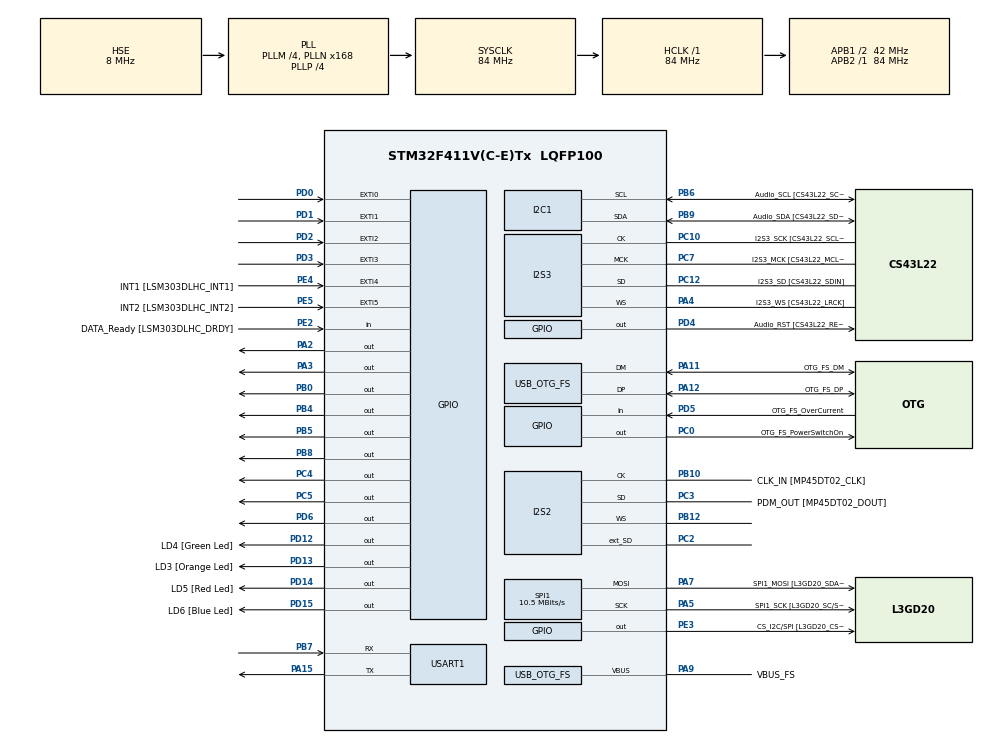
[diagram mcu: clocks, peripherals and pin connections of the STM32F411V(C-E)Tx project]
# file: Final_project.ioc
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I2S2.AudioFreq=I2S_AUDIOFREQ_96K
I2S2.ErrorAudioFreq=0.15 %
I2S2.FullDuplexMode=I2S_FULLDUPLEXMODE_ENABLE
I2S2.Instance=SPI$Index
I2S2.RealAudioFreq=96.153 KHz
I2S2.VirtualMode=I2S_MODE_MASTER
I2S3.AudioFreq=I2S_AUDIOFREQ_96K
I2S3.ErrorAudioFreq=-6.99 %
I2S3.FullDuplexMode=I2S_FULLDUPLEXMODE_DISABLE
I2S3.Instance=SPI$Index
I2S3.RealAudioFreq=89.285 KHz
I2S3.VirtualMode=I2S_MODE_MASTER
Mcu.Family=STM32F4
Mcu.Name=STM32F411V(C-E)Tx
Mcu.Package=LQFP100
NVIC.EXTI0_IRQn=true\:0\:0\:false\:false\:true\:true\:true\:true
NVIC.EXTI1_IRQn=true\:0\:0\:false\:false\:true\:true\:true\:true
NVIC.EXTI2_IRQn=true\:0\:0\:false\:false\:true\:true\:true\:true
NVIC.EXTI3_IRQn=true\:0\:0\:false\:false\:true\:true\:true\:true
NVIC.OTG_FS_IRQn=true\:0\:0\:false\:false\:true\:true\:true\:true
NVIC.PriorityGroup=NVIC_PRIORITYGROUP_0
NVIC.USART1_IRQn=true\:0\:0\:false\:false\:true\:true\:true\:true
PA1.Signal=SPI4_MOSI
PA10.GPIO_Label=OTG_FS_ID
PA10.Signal=USB_OTG_FS_ID
PA11.GPIO_Label=OTG_FS_DM
PA11.Mode=Device_Only
PA11.Signal=USB_OTG_FS_DM
PA12.GPIO_Label=OTG_FS_DP
PA12.Mode=Device_Only
PA12.Signal=USB_OTG_FS_DP
PA13.GPIO_Label=SWDIO
PA13.Signal=SYS_JTMS-SWDIO
PA14.GPIO_Label=SWCLK
PA14.Signal=SYS_JTCK-SWCLK
PA15.Mode=Asynchronous
PA15.Signal=USART1_TX
PA2.Signal=GPIO_Output
PA3.Signal=GPIO_Output
PA4.GPIO_Label=I2S3_WS [CS43L22_LRCK]
PA4.GPIO_Mode=GPIO_MODE_AF_PP
PA4.GPIO_PuPd=GPIO_NOPULL
PA4.GPIO_Speed=GPIO_SPEED_FREQ_LOW
PA4.Mode=Half_Duplex_Master
PA4.Signal=I2S3_WS
PA5.GPIO_Label=SPI1_SCK [L3GD20_SC/SPC]
PA5.Mode=TX_Only_Simplex_Unidirect_Master
PA5.Signal=SPI1_SCK
PA6.GPIO_Label=SPI1_MISO [L3GD20_AS0/SDO]
PA6.Signal=SPI1_MISO
PA7.GPIO_Label=SPI1_MOSI [L3GD20_SDA/SDI/SDO]
PA7.Mode=TX_Only_Simplex_Unidirect_Master
PA7.Signal=SPI1_MOSI
PA9.GPIO_Label=VBUS_FS
PA9.Mode=Activate_VBUS
PA9.Signal=USB_OTG_FS_VBUS
PB0.Signal=GPIO_Output
PB10.GPIO_Label=CLK_IN [MP45DT02_CLK]
PB10.Mode=Full_Duplex_Master
PB10.Signal=I2S2_CK
PB12.Mode=Full_Duplex_Master
PB12.Signal=I2S2_WS
PB3.GPIO_Label=SWO
PB3.Signal=SYS_JTDO-SWO
PB4.Signal=GPIO_Output
PB5.Signal=GPIO_Output
PB6.GPIO_Label=Audio_SCL [CS43L22_SCL]
PB6.GPIO_Mode=GPIO_MODE_AF_OD
PB6.GPIO_Pu=GPIO_PULLUP
PB6.GPIO_PuPd=GPIO_NOPULL
PB6.GPIO_Speed=GPIO_SPEED_FREQ_LOW
PB6.Mode=I2C
PB6.Signal=I2C1_SCL
PB7.Mode=Asynchronous
PB7.Signal=USART1_RX
PB8.Signal=GPIO_Output
PB9.GPIO_Label=Audio_SDA [CS43L22_SDA]
PB9.GPIO_Mode=GPIO_MODE_AF_OD
PB9.GPIO_Pu=GPIO_PULLUP
PB9.GPIO_PuPd=GPIO_NOPULL
PB9.GPIO_Speed=GPIO_SPEED_FREQ_LOW
PB9.Mode=I2C
PB9.Signal=I2C1_SDA
PC0.GPIO_Label=OTG_FS_PowerSwitchOn
PC0.PinState=GPIO_PIN_SET
PC0.Signal=GPIO_Output
PC10.GPIO_Label=I2S3_SCK [CS43L22_SCLK]
PC10.GPIO_Mode=GPIO_MODE_AF_PP
PC10.GPIO_PuPd=GPIO_NOPULL
PC10.GPIO_Speed=GPIO_SPEED_FREQ_LOW
PC10.Mode=Half_Duplex_Master
PC10.Signal=I2S3_CK
PC12.GPIO_Label=I2S3_SD [CS43L22_SDIN]
PC12.GPIO_Mode=GPIO_MODE_AF_PP
PC12.GPIO_PuPd=GPIO_NOPULL
PC12.GPIO_Speed=GPIO_SPEED_FREQ_LOW
PC12.Mode=Half_Duplex_Master
PC12.Signal=I2S3_SD
PC14-OSC32_IN.GPIO_Label=PC14-OSC32_IN
PC14-OSC32_IN.Mode=LSE-External-Oscillator
PC14-OSC32_IN.Signal=RCC_OSC32_IN
PC15-OSC32_OUT.GPIO_Label=PC15-OSC32_OUT
PC15-OSC32_OUT.Mode=LSE-External-Oscillator
PC15-OSC32_OUT.Signal=RCC_OSC32_OUT
PC2.Mode=Full_Duplex_Master
PC2.Signal=I2S2_ext_SD
PC3.GPIO_Label=PDM_OUT [MP45DT02_DOUT]
PC3.Mode=Full_Duplex_Master
PC3.Signal=I2S2_SD
PC4.Signal=GPIO_Output
PC5.Signal=GPIO_Output
PC7.GPIO_Label=I2S3_MCK [CS43L22_MCLK]
PC7.GPIO_Mode=GPIO_MODE_AF_PP
PC7.GPIO_PuPd=GPIO_NOPULL
PC7.GPIO_Speed=GPIO_SPEED_FREQ_LOW
PC7.Mode=Master_Clock_Activated
PC7.Signal=I2S3_MCK
PD0.GPIO_PuPd=GPIO_PULLUP
PD0.Signal=GPXTI0
PD1.GPIO_PuPd=GPIO_PULLUP
PD1.Signal=GPXTI1
PD12.GPIO_Label=LD4 [Green Led]
PD12.GPIO_PuPd=GPIO_NOPULL
PD12.GPIO_Speed=GPIO_SPEED_FREQ_LOW
PD12.Signal=GPIO_Output
PD13.GPIO_Label=LD3 [Orange Led]
PD13.GPIO_PuPd=GPIO_NOPULL
PD13.GPIO_Speed=GPIO_SPEED_FREQ_LOW
PD13.Signal=GPIO_Output
PD14.GPIO_Label=LD5 [Red Led]
PD14.GPIO_PuPd=GPIO_NOPULL
PD14.GPIO_Speed=GPIO_SPEED_FREQ_LOW
PD14.Signal=GPIO_Output
PD15.GPIO_Label=LD6 [Blue Led]
PD15.GPIO_PuPd=GPIO_NOPULL
PD15.GPIO_Speed=GPIO_SPEED_FREQ_LOW
PD15.Signal=GPIO_Output
PD2.GPIO_PuPd=GPIO_PULLUP
PD2.Signal=GPXTI2
PD3.GPIO_PuPd=GPIO_PULLUP
PD3.Signal=GPXTI3
PD4.GPIO_Label=Audio_RST [CS43L22_RESET]
PD4.Signal=GPIO_Output
PD5.GPIO_Label=OTG_FS_OverCurrent
PD5.Signal=GPIO_Input
PD6.Signal=GPIO_Output
PE2.GPIO_Label=DATA_Ready [LSM303DLHC_DRDY]
PE2.Signal=GPIO_Input
PE3.GPIO_Label=CS_I2C/SPI [L3GD20_CS_I2C/SPI]
PE3.Signal=GPIO_Output
PE4.GPIO_Label=INT1 [LSM303DLHC_INT1]
PE4.GPIO_ModeDefaultEXTI=GPIO_MODE_EVT_RISING
PE4.Signal=GPXTI4
PE5.GPIO_Label=INT2 [LSM303DLHC_INT2]
PE5.GPIO_ModeDefaultEXTI=GPIO_MODE_EVT_RISING
PE5.Signal=GPXTI5
PH0\ -\ OSC_IN.GPIO_Label=PH0-OSC_IN
PH0\ -\ OSC_IN.Mode=HSE-External-Oscillator
PH0\ -\ OSC_IN.Signal=RCC_OSC_IN
PH1\ -\ OSC_OUT.GPIO_Label=PH1-OSC_OUT
PH1\ -\ OSC_OUT.Mode=HSE-External-Oscillator
PH1\ -\ OSC_OUT.Signal=RCC_OSC_OUT
ProjectManager.HeapSize=0x200
ProjectManager.StackSize=0x400
ProjectManager.TargetToolchain=STM32CubeIDE
RCC.48MHZClocksFreq_Value=48000000
RCC.AHBFreq_Value=84000000
RCC.APB1CLKDivider=RCC_HCLK_DIV2
RCC.APB1Freq_Value=42000000
RCC.APB1TimFreq_Value=84000000
RCC.APB2Freq_Value=84000000
RCC.APB2TimFreq_Value=84000000
RCC.CortexFreq_Value=84000000
RCC.HCLKFreq_Value=84000000
RCC.HSE_VALUE=8000000
RCC.HSI_VALUE=16000000
RCC.PLLI2SM=5
RCC.PLLI2SN=200
RCC.PLLM=4
RCC.PLLN=168
RCC.PLLP=RCC_PLLP_DIV4
RCC.PLLQ=7
RCC.SYSCLKFreq_VALUE=84000000
RCC.SYSCLKSource=RCC_SYSCLKSOURCE_PLLCLK
RCC.VCOOutputFreq_Value=336000000
SPI1.BaudRatePrescaler=SPI_BAUDRATEPRESCALER_8
SPI1.CalculateBaudRate=10.5 MBits/s
SPI1.Direction=SPI_DIRECTION_2LINES
SPI1.Mode=SPI_MODE_MASTER
SPI1.VirtualType=VM_MASTER
USART1.VirtualMode=VM_ASYNC
USB_DEVICE.CLASS_NAME_FS=HID
USB_DEVICE.VirtualMode=Hid
USB_DEVICE.VirtualModeFS=Hid_FS
USB_OTG_FS.VirtualMode=Device_Only
VP_USB_DEVICE_VS_USB_DEVICE_HID_FS.Mode=HID_FS
board=STM32F411E-DISCO

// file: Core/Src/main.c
/* USER CODE BEGIN Header */
/**
  ******************************************************************************
  * @file           : main.c
  * @brief          : Main program body
  ******************************************************************************
  * @attention
  *
  * Copyright (c) 2023 STMicroelectronics.
  * All rights reserved.
  *
  * This software is licensed under terms that can be found in the LICENSE file
  * in the root directory of this software component.
  * If no LICENSE file comes with this software, it is provided AS-IS.
  *
  ******************************************************************************
  */
/* USER CODE END Header */
#include "main.h"
#include "i2c.h"
#include "i2s.h"
#include "spi.h"
#include "usart.h"
#include "usb_device.h"
#include "gpio.h"

/* USER CODE BEGIN Includes */
#include "lcd5110.h"
#include <stdio.h>
#include <string.h>
/* USER CODE END Includes */

/* USER CODE BEGIN PTD */
#define ROW_1_Pin GPIO_PIN_4
#define ROW_2_Pin GPIO_PIN_5
#define ROW_3_Pin GPIO_PIN_6
#define ROW_4_Pin GPIO_PIN_8
#define COL_1_Pin GPIO_PIN_0
#define COL_2_Pin GPIO_PIN_1
#define COL_3_Pin GPIO_PIN_2
#define COL_4_Pin GPIO_PIN_3
/* USER CODE END PTD */

/* USER CODE BEGIN PV */
GPIO_TypeDef* ROW_1_Port = GPIOB;
GPIO_TypeDef* ROW_2_Port = GPIOB;
GPIO_TypeDef* ROW_3_Port = GPIOD;
GPIO_TypeDef* ROW_4_Port = GPIOB;
GPIO_TypeDef* COL_1_Port = GPIOD;
GPIO_TypeDef* COL_2_Port = GPIOD;
GPIO_TypeDef* COL_3_Port = GPIOD;
GPIO_TypeDef* COL_4_Port = GPIOD;
/* USER CODE END PV */

void SystemClock_Config(void);
void PeriphCommonClock_Config(void);

/* USER CODE BEGIN 0 */

LCD5110_display lcd1;

#define MAP_WIDTH 84
#define MAP_HEIGHT 48
int SNAKE_SIZE = 8;
#define MAX_SNAKE_SIZE 25

#define BLACK 1
#define WHITE 0

#define LEFT 0
#define UP 1
#define RIGHT 2
#define DOWN 3

int map[MAP_HEIGHT][MAP_WIDTH];
bool isDead = false;
int DIRECTION = UP;

typedef struct {
    int x;
    int y;
} SnakeSegment;

SnakeSegment snake[MAX_SNAKE_SIZE];

SnakeSegment apple;

void initializeSnake() {
    for (int i = 0; i < SNAKE_SIZE; ++i) {
        snake[i].x = i + 10;
        snake[i].y = 24;
    }
}

void initializeApple() {
    generateRandomApplePosition();
}

void generateRandomApplePosition() {
    srand(HAL_GetTick());

    while (1) {
        apple.x = rand() % (MAP_WIDTH - 8) + 2;
        apple.y = rand() % (MAP_HEIGHT - 8) + 2;

        if (isPositionEmpty(apple.x, apple.y)) {
            break;
        }
    }
}

int isPositionEmpty(int x, int y) {
    for (int i = 0; i < SNAKE_SIZE; ++i) {
        if (snake[i].x == x && snake[i].y == y) {
            return 0;
        }
    }

    if (map[y][x] == BLACK) {
        return 0;
    }

    return 1;
}

void drawApple(LCD5110_display* lcd_conf) {
    LCD5110_putpix(apple.x, apple.y, BLACK, &lcd_conf->hw_conf);
    LCD5110_putpix(apple.x, apple.y + 1, BLACK, &lcd_conf->hw_conf);
    LCD5110_putpix(apple.x + 1, apple.y, BLACK, &lcd_conf->hw_conf);
    LCD5110_putpix(apple.x + 1, apple.y + 1, BLACK, &lcd_conf->hw_conf);
}

void moveSnake(LCD5110_display* lcd_conf) {

	LCD5110_putpix(snake[SNAKE_SIZE-1].x, snake[SNAKE_SIZE-1].y, WHITE, &lcd_conf->hw_conf);
	LCD5110_putpix(snake[SNAKE_SIZE-1].x, snake[SNAKE_SIZE-1].y + 1, WHITE, &lcd_conf->hw_conf);
	LCD5110_putpix(snake[SNAKE_SIZE-1].x + 1, snake[SNAKE_SIZE-1].y, WHITE, &lcd_conf->hw_conf);
	LCD5110_putpix(snake[SNAKE_SIZE-1].x + 1, snake[SNAKE_SIZE-1].y + 1, WHITE, &lcd_conf->hw_conf);

    for (int i = SNAKE_SIZE - 1; i > 0; --i) {
        snake[i] = snake[i - 1];
    }

    if (DIRECTION == RIGHT){
    	snake[0].x += 2;
    }
    else if (DIRECTION == UP){
    	snake[0].y -= 2;
    }
    else if (DIRECTION == LEFT){
    	snake[0].x -= 2;
    }
    else if (DIRECTION == DOWN){
    	snake[0].y += 2;
    }

    if (DIRECTION == RIGHT || DIRECTION == DOWN){
    	if (snake[0].x <= 1 || snake[0].x >= MAP_WIDTH - 2 || snake[0].y <= 1 || snake[0].y >= MAP_HEIGHT - 2) {
			isDead = true;
		}
    }else{
    	if (snake[0].x + 1 <= 1 || snake[0].x + 1 >= MAP_WIDTH - 2 || snake[0].y + 1 <= 1 || snake[0].y + 1 >= MAP_HEIGHT - 2) {
			isDead = true;
		}
    }

    for (int i = 1; i < SNAKE_SIZE; ++i) {
    	if (DIRECTION == RIGHT){
    		if ( (snake[0].x == snake[i].x + 1 && snake[0].y == snake[i].y) ||
    			 (snake[0].x == snake[i].x + 1 && snake[0].y == snake[i].y + 1)) {
				isDead = true;
				break;
			}
    	}
    	else if (DIRECTION == LEFT){
    		if ( (snake[0].x == snake[i].x && snake[0].y == snake[i].y) ||
				 (snake[0].x == snake[i].x && snake[0].y == snake[i].y + 1)) {
				isDead = true;
				break;
			}
    	}
    	else if (DIRECTION == UP){
    		if ( (snake[0].x == snake[i].x && snake[0].y == snake[i].y) ||
				 (snake[0].x == snake[i].x + 1 && snake[0].y == snake[i].y)) {
				isDead = true;
				break;
			}
    	}
    	else{
    		if ( (snake[0].x == snake[i].x && snake[0].y == snake[i].y + 1) ||
				 (snake[0].x == snake[i].x + 1 && snake[0].y == snake[i].y + 1)) {
				isDead = true;
				break;
			}
    	}
    }

	if (isDead) {
		for (int i = 1; i < SNAKE_SIZE; ++i) {
			LCD5110_putpix(snake[i].x, snake[i].y, WHITE, &lcd_conf->hw_conf);
			LCD5110_putpix(snake[i].x, snake[i].y + 1, WHITE, &lcd_conf->hw_conf);
			LCD5110_putpix(snake[i].x + 1, snake[i].y, WHITE, &lcd_conf->hw_conf);
			LCD5110_putpix(snake[i].x + 1, snake[i].y + 1, WHITE, &lcd_conf->hw_conf);
		}

		LCD5110_putpix(apple.x, apple.y, WHITE, &lcd_conf->hw_conf);
		LCD5110_putpix(apple.x, apple.y + 1, WHITE, &lcd_conf->hw_conf);
		LCD5110_putpix(apple.x + 1, apple.y, WHITE, &lcd_conf->hw_conf);
		LCD5110_putpix(apple.x + 1, apple.y + 1, WHITE, &lcd_conf->hw_conf);

		initializeSnake();
		initializeApple();

		drawApple(&lcd1);
		DIRECTION = UP;
		isDead = false;
	}

    if ( (snake[0].x == apple.x && snake[0].y == apple.y ) ||
    	 (snake[0].x == apple.x + 1 && snake[0].y == apple.y) ||
		 (snake[0].x == apple.x && snake[0].y == apple.y + 1) ||
		 (snake[0].x == apple.x + 1 && snake[0].y == apple.y + 1) ||
		 (snake[0].x + 1 == apple.x && snake[0].y + 1 == apple.y) ||
		 (snake[0].x + 1 == apple.x + 1 && snake[0].y + 1 == apple.y) ||
		 (snake[0].x + 1 == apple.x && snake[0].y + 1 == apple.y + 1) ||
		 (snake[0].x + 1 == apple.x + 1 && snake[0].y + 1 == apple.y + 1)) {
		if (SNAKE_SIZE < MAX_SNAKE_SIZE) {
			snake[SNAKE_SIZE].x = snake[SNAKE_SIZE - 1].x;
			snake[SNAKE_SIZE].y = snake[SNAKE_SIZE - 1].y;
			SNAKE_SIZE++;

		}

		LCD5110_putpix(apple.x, apple.y, WHITE, &lcd_conf->hw_conf);
		LCD5110_putpix(apple.x, apple.y + 1, WHITE, &lcd_conf->hw_conf);
		LCD5110_putpix(apple.x + 1, apple.y, WHITE, &lcd_conf->hw_conf);
		LCD5110_putpix(apple.x + 1, apple.y + 1, WHITE, &lcd_conf->hw_conf);

		generateRandomApplePosition();
		drawApple(lcd_conf);
	}

}

void drawSnake(LCD5110_display* lcd_conf) {
    for (int i = 0; i < SNAKE_SIZE; ++i) {
        LCD5110_putpix(snake[i].x, snake[i].y, BLACK, &lcd_conf->hw_conf);
        LCD5110_putpix(snake[i].x, snake[i].y + 1, BLACK, &lcd_conf->hw_conf);
        LCD5110_putpix(snake[i].x + 1, snake[i].y, BLACK, &lcd_conf->hw_conf);
        LCD5110_putpix(snake[i].x + 1, snake[i].y + 1, BLACK, &lcd_conf->hw_conf);
    }
}

void clearSnake(LCD5110_display* lcd_conf){
	for (int i = 0; i < SNAKE_SIZE; ++i) {
		LCD5110_putpix(snake[i].x, snake[i].y, WHITE, &lcd_conf->hw_conf);
	}
}

void initializeMap() {
    for (int i = 0; i < MAP_HEIGHT; ++i) {
        for (int j = 0; j < MAP_WIDTH; ++j) {
            map[i][j] = WHITE;
        }
    }

    for (int i = 0; i < MAP_WIDTH; ++i) {
        map[0][i] = BLACK;
        map[1][i] = BLACK;
        map[MAP_HEIGHT - 1][i] = BLACK;
        map[MAP_HEIGHT - 2][i] = BLACK;
    }

    for (int i = 0; i < MAP_HEIGHT; ++i) {
        map[i][0] = BLACK;
        map[i][1] = BLACK;
        map[i][MAP_WIDTH - 1] = BLACK;
        map[i][MAP_WIDTH - 2] = BLACK;
    }
}

void drawMap(LCD5110_display* lcd_conf) {
    LCD5110_clear_scr(lcd_conf);

    for (int i = 0; i < MAP_HEIGHT; ++i) {
        for (int j = 0; j < MAP_WIDTH; ++j) {
            if (map[i][j] == BLACK) {
                LCD5110_putpix(j, i, BLACK, &lcd_conf->hw_conf);
            }
        }
    }

    LCD5110_refresh(lcd_conf);
}

void keypad_init(void)
{
  // Configure GPIO pins for keypad matrix
  GPIO_InitTypeDef GPIO_InitStruct = {0};
  GPIO_InitStruct.Pin = ROW_1_Pin | ROW_2_Pin | ROW_3_Pin | ROW_4_Pin;
  GPIO_InitStruct.Mode = GPIO_MODE_INPUT;
  GPIO_InitStruct.Pull = GPIO_PULLUP;
  HAL_GPIO_Init(ROW_1_Port, &GPIO_InitStruct);
  HAL_GPIO_Init(ROW_2_Port, &GPIO_InitStruct);
  HAL_GPIO_Init(ROW_3_Port, &GPIO_InitStruct);
  HAL_GPIO_Init(ROW_4_Port, &GPIO_InitStruct);

  GPIO_InitStruct.Pin = COL_1_Pin | COL_2_Pin | COL_3_Pin | COL_4_Pin;
  GPIO_InitStruct.Mode = GPIO_MODE_OUTPUT_PP;
  GPIO_InitStruct.Speed = GPIO_SPEED_FREQ_LOW;
  HAL_GPIO_Init(COL_1_Port, &GPIO_InitStruct);
  HAL_GPIO_Init(COL_2_Port, &GPIO_InitStruct);
  HAL_GPIO_Init(COL_3_Port, &GPIO_InitStruct);
  HAL_GPIO_Init(COL_4_Port, &GPIO_InitStruct);
}

char keypad_scan(void)
{
  char keys[4][4] = {{'1', '2', '3', 'A'},
                     {'4', '5', '6', 'B'},
                     {'7', '8', '9', 'C'},
                     {'*', '0', '#', 'D'}};

  for(int i = 0; i < 4; i++)
  {
    switch(i)
    {
      case 0:
        HAL_GPIO_WritePin(COL_1_Port, COL_1_Pin, GPIO_PIN_RESET);
        HAL_GPIO_WritePin(COL_2_Port, COL_2_Pin, GPIO_PIN_SET);
        HAL_GPIO_WritePin(COL_3_Port, COL_3_Pin, GPIO_PIN_SET);
        HAL_GPIO_WritePin(COL_4_Port, COL_4_Pin, GPIO_PIN_SET);
        break;

      case 1:
        HAL_GPIO_WritePin(COL_1_Port, COL_1_Pin, GPIO_PIN_SET);
        HAL_GPIO_WritePin(COL_2_Port, COL_2_Pin, GPIO_PIN_RESET);
    HAL_GPIO_WritePin(COL_3_Port, COL_3_Pin, GPIO_PIN_SET);
    HAL_GPIO_WritePin(COL_4_Port, COL_4_Pin, GPIO_PIN_SET);
    break;

  case 2:
    HAL_GPIO_WritePin(COL_1_Port, COL_1_Pin, GPIO_PIN_SET);
    HAL_GPIO_WritePin(COL_2_Port, COL_2_Pin, GPIO_PIN_SET);
    HAL_GPIO_WritePin(COL_3_Port, COL_3_Pin, GPIO_PIN_RESET);
    HAL_GPIO_WritePin(COL_4_Port, COL_4_Pin, GPIO_PIN_SET);
    break;

  case 3:
    HAL_GPIO_WritePin(COL_1_Port, COL_1_Pin, GPIO_PIN_SET);
    HAL_GPIO_WritePin(COL_2_Port, COL_2_Pin, GPIO_PIN_SET);
    HAL_GPIO_WritePin(COL_3_Port, COL_3_Pin, GPIO_PIN_SET);
    HAL_GPIO_WritePin(COL_4_Port, COL_4_Pin, GPIO_PIN_RESET);
    break;
}
// Read current rows
if(HAL_GPIO_ReadPin(ROW_1_Port, ROW_1_Pin) == GPIO_PIN_RESET)
  return keys[0][i];
if(HAL_GPIO_ReadPin(ROW_2_Port, ROW_2_Pin) == GPIO_PIN_RESET)
  return keys[1][i];
if(HAL_GPIO_ReadPin(ROW_3_Port, ROW_3_Pin) == GPIO_PIN_RESET)
  return keys[2][i];
if(HAL_GPIO_ReadPin(ROW_4_Port, ROW_4_Pin) == GPIO_PIN_RESET)
  return keys[3][i];
}
return 0; // No key pressed
}

char buf[10] = {0};

char usart1_rx_buf[10000] = {0,};
char messages[100][300];
char numbers[100][11];
int cnt_msg = 0;
bool next_msg = false;

volatile uint8_t usart1_byte;
volatile uint8_t usart1_byte_count = 0;
int check = 0;
int end_r = 0;
bool get_call = false;
bool cursor_on_phone = true;
bool screen_main = false;
bool cursor_on_message = false;
bool screen_message = false;
bool type_message_screen = false;
bool screen_begin = true;
bool want_to_send_digits = true;
bool end_call_flag = false;
bool cursor_on_read = false;
bool message_read = false;
bool snake_screen = false;
bool snake_start = false;
int num_of_msg = 0;

const char *MESSAGE_MODE = "AT+CMGF=1\r\n";

const char *MSG_NUMBER_INIT = "AT+CMGS=\"+38";

const char *CALL_NUMBER = "ATD+38";

const char *END_CALL = "AT+CHUP\r\n";

const char *CALL_ANSWER = "ATA\r\n";

const char *CHECK_NUMBER = "AT+CLCC\r\n";

const char *MAX_VOLUME = "AT+CRSL=15\r\n";

const char *READ_LAST_MSG = "AT+CMGR=";

const char *SEE_MEM = "AT+CPMS=\"SM\",\"SM\",\"SM\"\r\n";

const char *SAVE_SMS = "AT+CMGW\r\n";

const char *REC_MODE = "AT+CNMI=2,2,0,0,0\r\n";

typedef struct module{
	char *last_response;
	char *last_command;
} module_t;

module_t gsm_module;

module_t init_module() {
    module_t newModule;
    newModule.last_response = strdup("");
    newModule.last_command = strdup("");

    if (newModule.last_response == NULL || newModule.last_command == NULL) {
        fprintf(stderr, "Memory allocation failed\n");
        exit(EXIT_FAILURE);
    }
    return newModule;
}

void free_module(struct module *myModule) {
    free(myModule->last_response);
    free(myModule->last_command);
}

void send_message(char* number, char* msg){
	char *number_command = MSG_NUMBER_INIT;
	strcat(number_command, number);
	strcat(number_command, "\"\r\n");
	char *message = msg;
	strcat(message, "\r\n\x1A");

	HAL_UART_Transmit(&huart1,(uint8_t *)MESSAGE_MODE,strlen(MESSAGE_MODE),100);
	HAL_UART_Transmit(&huart1,(uint8_t *)number_command,strlen(number_command),100);
	HAL_UART_Transmit(&huart1,(uint8_t *)message,strlen(message),100);
}

void call_number(char* number){
	char call_command[16];
	strcat(call_command, CALL_NUMBER);
	strcat(call_command, number);
	strcat(call_command, "\r\n");
	HAL_UART_Transmit(&huart1,(uint8_t *)call_command,strlen(call_command),100);
}

char *answer_call(module_t gsm_module){
	HAL_UART_Transmit(&huart1, (uint8_t *)CALL_ANSWER, strlen(CALL_ANSWER), 100);
	HAL_Delay(200);
}

void end_call(){
	HAL_UART_Transmit(&huart1,(uint8_t *)END_CALL, 9,100);
}

void read_message(module_t gsm_module, int number){
	LCD5110_set_cursor(0, 0, &lcd1);
	LCD5110_print(numbers[99 - number], 0, &lcd1);
	LCD5110_set_cursor(0, 10, &lcd1);
	LCD5110_print(messages[99 - number], 0, &lcd1);
}

void handle_interrupts(module_t gsm_module, char *rx_buff, int count){
	if (count >= 5){
		char first[2];
		char second[2];
		char third[2];
		char fourth[2];
		first[0] = rx_buff[2];
		first[1] = '\0';
		second[0] = rx_buff[3];
		second[1] = '\0';
		third[0] = rx_buff[4];
		third[1] = '\0';
		fourth[0] = rx_buff[5];
		fourth[1] = '\0';

		if (message_read){
			LCD5110_set_cursor(0, 0, &lcd1);
			LCD5110_print(rx_buff, 0, &lcd1);

		}
		if (strcmp(rx_buff, "OK\r\n") == 0){
			return;
		}
		if (strcmp(rx_buff, "ERROR\r\n") == 0){
			return;
		}
		if ((second[0] == 'C' && third[0] == 'A' && fourth[0] == 'R') || (first[0] == 'R' && second[0] == 'O' && third[0] == 'R')){
			end_call_flag = true;
		}
		if (first[0] == 'R' && second[0] == 'I' && third[0] == 'N' && fourth[0] == 'G'){
			cursor_on_phone = false;
			screen_main = false;
			cursor_on_message = false;
			screen_message = false;
			type_message_screen = false;
			screen_begin = false;
			want_to_send_digits = false;
			get_call = true;
			memcpy(buf, &rx_buff[11], 10);
			buf[10] = '\0';
			return;
		}
	}

}

/* USER CODE END 0 */

int main(void)
{

  /* MCU Configuration--------------------------------------------------------*/

  /* Reset of all peripherals, Initializes the Flash interface and the Systick. */
  HAL_Init();

  /* Configure the system clock */
  SystemClock_Config();

/* Configure the peripherals common clocks */
  PeriphCommonClock_Config();

  /* Initialize all configured peripherals */
  MX_GPIO_Init();
  MX_I2C1_Init();
  MX_I2S2_Init();
  MX_I2S3_Init();
  MX_SPI1_Init();
  MX_USB_DEVICE_Init();
  MX_USART1_UART_Init();
  /* USER CODE BEGIN 2 */

  	lcd1.hw_conf.spi_handle = &hspi1;
    lcd1.hw_conf.spi_cs_pin =  GPIO_PIN_2;
    lcd1.hw_conf.spi_cs_port = GPIOA;
    lcd1.hw_conf.rst_pin =  GPIO_PIN_0;
    lcd1.hw_conf.rst_port = GPIOC;
    lcd1.hw_conf.dc_pin =  GPIO_PIN_3;
    lcd1.hw_conf.dc_port = GPIOA;
    lcd1.def_scr = lcd5110_def_scr;
    LCD5110_init(&lcd1.hw_conf, LCD5110_NORMAL_MODE, 0x40, 2, 3);

    //gsm_module = init_module();
	char ATcommand[100];
	char res[10];
		sprintf(ATcommand,"AT\r\n");
		HAL_UART_Transmit(&huart1,(uint8_t *)ATcommand,strlen(ATcommand),100);
		HAL_UART_Receive (&huart1, (uint8_t *)res, 10, 10);

		if(strstr((char *)res,"OK"))
		{
			HAL_GPIO_WritePin(GPIOD, GPIO_PIN_12, GPIO_PIN_SET);   // green
		}
		else{
		HAL_GPIO_WritePin(GPIOD, GPIO_PIN_14, GPIO_PIN_SET);    // red

		}

    int pos = 0;

    char key_pressed = 0;

    rect_t rect={0,0, 83, 10};

    const unsigned char main_screen_image[] = {
    		0x0f, 0x03, 0xf1, 0xf8, 0xf9, 0x33, 0x07, 0xcf, 0xff, 0xff, 0xff, 0xe6, 0xe4, 0xcc, 0x19, 0x39,
    		0xe3, 0x87, 0x1f, 0xfe, 0xf8, 0xf1, 0xc7, 0x8f, 0x3c, 0x38, 0x73, 0xe7, 0xcf, 0xcf, 0xcf, 0xcf,
    		0xe7, 0xe7, 0xcf, 0x1f, 0x3f, 0x7f, 0x07, 0x07, 0x07, 0x07, 0x07, 0x07, 0x07, 0x06, 0x04, 0x04,
    		0x01, 0x01, 0x01, 0x01, 0x01, 0x04, 0x04, 0x06, 0x07
    };

    const unsigned char main_screen_snake[] = {
		0x01, 0xf8, 0xfc, 0xfe, 0xfe, 0x8e, 0x06, 0x66, 0x76, 0x76, 0x76, 0x7e, 0x76, 0xfe, 0xfe, 0xfe,
		0xfc, 0xf8, 0x01, 0x00, 0xff, 0xff, 0x8f, 0x07, 0x77, 0x77, 0x77, 0x77, 0x77, 0x77, 0x77, 0x72,
		0x78, 0x3f, 0x9f, 0xff, 0xff, 0x60, 0x04, 0x00, 0x01, 0x03, 0x03, 0x03, 0x03, 0x03, 0x03, 0x03,
		0x03, 0x03, 0x03, 0x03, 0x03, 0x03, 0x01, 0x00, 0x04
    };

    const unsigned char main_message[] = {
    		0x01, 0xfc, 0xfe, 0xfe, 0x66, 0x66, 0x66, 0x66, 0x66, 0x66, 0x66, 0x66, 0x66, 0x66, 0x66, 0xfe,
    		0xfe, 0xfc, 0x01, 0xe0, 0xcf, 0xdf, 0x1b, 0xfb, 0xfb, 0x7b, 0x3b, 0x9b, 0xdb, 0xdb, 0xdb, 0xdb,
    		0xdb, 0xdb, 0xdb, 0xdf, 0xcf, 0xe0, 0x07, 0x07, 0x07, 0x00, 0x04, 0x06, 0x07, 0x07, 0x07, 0x07,
    		0x07, 0x07, 0x07, 0x07, 0x07, 0x07, 0x07, 0x07, 0x07
    };

    const unsigned char write_message[] = {
    		0xff, 0xff, 0x7f, 0x3f, 0xbf, 0xbf, 0xbf, 0xbf, 0xbf, 0xbf, 0x3f, 0x3f, 0x9f, 0xcf, 0x67, 0x83,
    		0xc7, 0xef, 0xff, 0xff, 0xff, 0xe0, 0xc0, 0xdf, 0x9f, 0xbf, 0x3f, 0x13, 0x10, 0xd0, 0xd9, 0xdd,
    		0xc0, 0xff, 0xff, 0xff, 0xff, 0xff, 0x07, 0x07, 0x07, 0x07, 0x07, 0x07, 0x07, 0x07, 0x06, 0x07,
    		0x07, 0x07, 0x07, 0x07, 0x07, 0x07, 0x07, 0x07, 0x07
    };

    char* letters_for_keys[] = {
            "ABC",
            "DEF",
            "GHI",
            "JKL",
            "MNO",
            "PQR",
            "STU",
            "VWX",
            "YZ"
        };

    int letters[] = {0,0,0,0,0,0,0,0,0};

    bool is_call;

	HAL_UART_Transmit(&huart1,(uint8_t *)REC_MODE,strlen(REC_MODE),100);
    char message[32] = {0};
    int message_pos = 0;

    gsm_module = init_module();

    keypad_init();

    void init_screen() {
		LCD5110_clear_scr(&lcd1);
		LCD5110_refresh(&lcd1);
		LCD5110_rect(&rect, 1, &lcd1);
		LCD5110_rect_fill(&rect, 1, &lcd1);
		LCD5110_set_cursor(10, 15, &lcd1);

		LCD5110_print("A-call", 0, &lcd1);

		LCD5110_set_cursor(10, 35, &lcd1);

		LCD5110_print("B-back", 0, &lcd1);
		LCD5110_set_cursor(0, 0, &lcd1);
		is_call = false;
    }

    void call_screen() {
    	LCD5110_clear_scr(&lcd1);
    	LCD5110_refresh(&lcd1);
    	char phone_info[26];
    	LCD5110_set_cursor(18, 1, &lcd1);
    	strcpy(phone_info, "Calling\n");
    	LCD5110_print(phone_info, BLACK, &lcd1);
    	LCD5110_set_cursor(10, 20, &lcd1);
    	LCD5110_print(buf, WHITE, &lcd1);
    	LCD5110_set_cursor(10, 40, &lcd1);
    	LCD5110_print("A-end call", 0, &lcd1);
    	is_call = true;
    }

    void screen_on_read(int number) {
    	LCD5110_clear_scr(&lcd1);
		LCD5110_refresh(&lcd1);
		LCD5110_set_cursor(65, 40, &lcd1);

		LCD5110_print("A->", 0, &lcd1);

		read_message(gsm_module, number);
		if (number != 0){
			LCD5110_set_cursor(5, 40, &lcd1);
			LCD5110_print("<-C", 0, &lcd1);
		}
		LCD5110_set_cursor(20, 40, &lcd1);
		LCD5110_print("B-exit", 0, &lcd1);
    }

    typedef enum {
      PHONE,
      MESSAGEE,
      SNAKE
    } Screen;

    void get_call_screen(){
    	LCD5110_clear_scr(&lcd1);
		LCD5110_refresh(&lcd1);
		LCD5110_print(buf, 0, &lcd1);
		LCD5110_set_cursor(5, 15, &lcd1);

		LCD5110_print("A-accept call", 0, &lcd1);

		LCD5110_set_cursor(5, 25, &lcd1);

		LCD5110_print("B-reject call", 0, &lcd1);
		LCD5110_set_cursor(0, 0, &lcd1);
    }

    void main_screen(Screen type_screen) {
    	LCD5110_clear_scr(&lcd1);
		LCD5110_refresh(&lcd1);
		LCD5110_drawBitmap(8, 3, main_screen_image, 19, 19, 0, &lcd1.hw_conf);

		rect_t rectbox_phone={6, 1, 23, 23};
		rect_t rectbox_snake={49,1, 23, 23};
		rect_t rectbox_message={6,23, 23, 23};
		rect_t rectbox_message_history = {48, 23, 23, 23};
		if (type_screen==0) {
			LCD5110_rect(&rectbox_phone, 1, &lcd1);
		}
		else if (type_screen==1) {
			LCD5110_rect(&rectbox_snake, 1, &lcd1);
		}
		else if (type_screen == 2) {
			LCD5110_rect(&rectbox_message, 1, &lcd1);
		} else {
			LCD5110_rect(&rectbox_message_history, 1, &lcd1);
		}
		LCD5110_refresh(&lcd1);
		LCD5110_set_cursor(50, 10, &lcd1);
		LCD5110_drawBitmap(50, 3, main_screen_snake, 19, 19, 0, &lcd1.hw_conf);
		LCD5110_refresh(&lcd1);
		LCD5110_set_cursor(8, 28, &lcd1);
		LCD5110_drawBitmap(8, 25, write_message, 19, 19, 0, &lcd1.hw_conf);
		LCD5110_set_cursor(50, 28, &lcd1);
		LCD5110_drawBitmap(50, 25, main_message, 19, 19, 0, &lcd1.hw_conf);
    }

    bool is_message;

    void screen_for_message_sending() {
    	LCD5110_clear_scr(&lcd1);
		LCD5110_refresh(&lcd1);
		LCD5110_rect(&rect, 1, &lcd1);
		LCD5110_rect_fill(&rect, 1, &lcd1);
		LCD5110_set_cursor(10, 15, &lcd1);

		LCD5110_print("A-go to message", 0, &lcd1);

		LCD5110_set_cursor(10, 35, &lcd1);

		LCD5110_print("B-back", 0, &lcd1);
		LCD5110_set_cursor(0, 0, &lcd1);
		is_message = false;
    }

    void snake_screen_build() {
    	LCD5110_clear_scr(&lcd1);
		LCD5110_refresh(&lcd1);
		initializeMap();
		initializeSnake();
		initializeApple();

		drawMap(&lcd1);
		drawApple(&lcd1);
    }

    void type_message_scren() {
        	LCD5110_clear_scr(&lcd1);
        	LCD5110_refresh(&lcd1);
        	rect_t rectbox_phone={1, 1, 60, 30};
        	LCD5110_set_cursor(5, 40, &lcd1);
        	LCD5110_print("A-send", 0, &lcd1);
        	is_message = true;
        }

    main_screen(cursor_on_phone - 1);

    HAL_UART_Receive_IT(&huart1, usart1_rx_buf, 1);

  /* USER CODE END 2 */

  /* Infinite loop */
  /* USER CODE BEGIN WHILE */
	while (1)
	{
	    key_pressed = keypad_scan();
	    if (snake_start){
	    	drawSnake(&lcd1);
	    	moveSnake(&lcd1);

		   if(key_pressed != 0)
		   {
			if (key_pressed == '2' & DIRECTION != UP & DIRECTION != DOWN){
			 DIRECTION = UP;
			}
			else if (key_pressed == '6' & DIRECTION != RIGHT & DIRECTION != LEFT){
			 DIRECTION = RIGHT;
			}
			else if (key_pressed == '8' & DIRECTION != DOWN & DIRECTION != UP){
			 DIRECTION = DOWN;
			}
			else if (key_pressed == '4' & DIRECTION != LEFT & DIRECTION != RIGHT){
			 DIRECTION = LEFT;
			}
    		else if (key_pressed == 'B'){
    			snake_screen = false;
    			snake_start = false;
    			screen_main = true;
    			main_screen(cursor_on_phone - 1);
    		}

		   }

		   LCD5110_refresh(&lcd1);
		   HAL_Delay(10);
	    }
	    else if (get_call){
    		get_call_screen(buf);
    		if (key_pressed == 'A'){
    			answer_call(gsm_module);
    			get_call = false;
    			screen_main = true;
    			call_screen();
    		}
    		else if (key_pressed == 'B'){
    			end_call();
    			get_call = false;
    			screen_main = true;
				memset(buf, ' ', sizeof(buf) - 1);
				buf[0] = '\0';
				pos = 0;
    			main_screen(cursor_on_phone - 1);
    		}
    	}
    	else if(key_pressed != 0 || end_call_flag)
	    {
	    	if (type_message_screen) {
	    		if (!want_to_send_digits) {
					if (key_pressed >= '0' && key_pressed <= '9') {
						int num = key_pressed - '0';
						letters[num - 1]++;
					}
					if (key_pressed == 'C') {
						int maxindex = 0;
						for (int i = 0; i < 9; i++) {
								if (letters[i] > letters[maxindex]) {
									maxindex = i;
								}
							}
							char *message_t = letters_for_keys[maxindex];
							message[message_pos] = message_t[letters[maxindex] - 1];
							message_pos++;
							message[message_pos] = '\0';
							LCD5110_set_cursor(0, 0, &lcd1);
							LCD5110_print(message, 0, &lcd1);
							LCD5110_refresh(&lcd1);
							memset(letters, 0, sizeof(letters));
						}
					if (key_pressed == 'A') {
						strcat(message, "\r\n\x1A");
						HAL_UART_Transmit(&huart1,(uint8_t *)message,strlen(message),100);
						HAL_Delay(500);
						HAL_UART_Receive (&huart1, (uint8_t *)res, 10, 10);
						LCD5110_refresh(&lcd1);
						HAL_Delay(500);
						message[0] = '\0';
						message_pos = 0;
						LCD5110_refresh(&lcd1);
						type_message_screen = false;
						screen_begin = true;
						want_to_send_digits = true;
						buf[0] = '\0';
						message[0] = '\0';
						message_pos = 0;
						pos = 0;
						main_screen(cursor_on_phone - 1);
					}
	    		}
	    		else {
	    			if (key_pressed == 'C') { // changing mode to letters
						want_to_send_digits = false;
					}

					else if (key_pressed >= '0' && key_pressed <= '9' && message_pos < sizeof(message))
						{
							message[message_pos] = key_pressed;
							message_pos++;
							message[message_pos] = '\0';

							LCD5110_set_cursor(0, 0, &lcd1);
							LCD5110_print(message, 0, &lcd1);
						}
						if (key_pressed == 'A') {

							strcat(message, "\r\n\x1A");

							HAL_UART_Transmit(&huart1,(uint8_t *)message,strlen(message),100);
							HAL_Delay(500);
							HAL_UART_Receive (&huart1, (uint8_t *)res, 10, 10);
							LCD5110_refresh(&lcd1);
							HAL_Delay(500);
							message[0] = '\0';
							message_pos = 0;
							LCD5110_refresh(&lcd1);
							type_message_screen = false;
							screen_begin = true;
							buf[0] = '\0';
							pos = 0;
							main_screen(cursor_on_phone - 1);
						}
	    			}
	    		}
	    	else if (message_read){

	    		if (key_pressed == 'B') {
	    			message_read = false;
	    			screen_begin = true;
	    			main_screen(cursor_on_phone - 1);
	    		}

	    	}
	    	else if (screen_message) {
	    		if (key_pressed == 'B') {
	    			screen_message = false;
	    			type_message_screen = false;
	    			screen_begin = true;
	    			memset(buf, ' ', sizeof(buf) - 1);
					buf[0] = '\0';
					pos = 0;
					main_screen(cursor_on_phone - 1);
	    		}
	    		if (key_pressed >= '0' && key_pressed <= '9' && pos < sizeof(buf))
					{
						buf[pos] = key_pressed;
						pos++;
						buf[pos] = '\0';

						LCD5110_set_cursor(0, 0, &lcd1);
						LCD5110_print(buf, 0, &lcd1);
					}
	    		if (key_pressed == 'A') {
					  HAL_UART_Transmit(&huart1,(uint8_t *)MESSAGE_MODE,strlen(MESSAGE_MODE),100);
					  HAL_UART_Receive (&huart1, (uint8_t *)res, 10, 10);
					  if(strstr((char *)res,"OK")){
						  HAL_GPIO_WritePin(GPIOD, GPIO_PIN_12, GPIO_PIN_SET);   // green
					  }
					  else{
						HAL_GPIO_WritePin(GPIOD, GPIO_PIN_14, GPIO_PIN_SET);
					  }

					  char current_number[25];
					  strcpy(current_number, MSG_NUMBER_INIT);
					  strcat(current_number, buf);
					  strcat(current_number, "\"\r\n");
					  HAL_UART_Transmit(&huart1,(uint8_t *)current_number,strlen(current_number),100);
					  HAL_UART_Receive (&huart1, (uint8_t *)res, 10, 10);

	    			screen_message = false;
	    			type_message_screen = true;
	    			type_message_scren();
	    			}
	    		else if (key_pressed == 'D')
					{
						memset(buf, ' ', sizeof(buf) - 1);
						buf[0] = '\0';
						pos = 0;
						LCD5110_refresh(&lcd1);
						LCD5110_rect_fill(&rect, 1, &lcd1);
						LCD5110_set_cursor(0, 0, &lcd1);
					}
	    		else if (key_pressed == 'C' && pos > 0)
					{
						pos--;
						buf[pos] = '\0';

						LCD5110_refresh(&lcd1);
						LCD5110_rect_fill(&rect, 1, &lcd1);
						LCD5110_set_cursor(0, 0, &lcd1);
						LCD5110_print(buf, 0, &lcd1);
					}
	    	}
	    	else if (screen_begin) {
	    		end_call_flag = false;
	    		if (key_pressed == '1' || key_pressed == '2' || key_pressed == '3' || key_pressed == '4') {
	    			int num = key_pressed - '0';
	    			if (num == 3) {
	    				cursor_on_message = true;
	    				cursor_on_read = false;
	    				cursor_on_phone = false;
	    			} else if (num == 1) {
	    				cursor_on_message = false;
	    				cursor_on_read = false;
	    				cursor_on_phone = true;
	    			} else if (num == 4){
	    				cursor_on_read = true;
	    				cursor_on_phone = false;
	    				cursor_on_message = false;
	    			} else if (num == 2){
	    				snake_screen = true;
						cursor_on_read = false;
						cursor_on_phone = false;
						cursor_on_message = false;

	    			}
	    			main_screen(num - 1);
	    		}
				if (key_pressed == '*' && cursor_on_phone) {
						screen_main = true;
						screen_begin = false;
						init_screen();
					}
				if (key_pressed == '*' && cursor_on_message) {
					screen_message = true;
					screen_begin = false;
					screen_for_message_sending();
				}
				if (key_pressed == '*' && cursor_on_read){
					screen_begin = false;
					message_read = true;
					screen_on_read(0);
				}
				if (key_pressed == '*' && snake_screen){
					snake_start = true;
					screen_main = false;
					screen_begin = false;
					snake_screen_build();
				}
	    	}
	    	else if (screen_main){
	    		if (key_pressed == 'B') {
						screen_main = false;
						screen_begin = true;
						memset(buf, ' ', sizeof(buf) - 1);
						buf[0] = '\0';
						pos = 0;
						main_screen(cursor_on_phone - 1);
				}
				if ((end_call_flag || key_pressed == 'A') && screen_main) {
					if (is_call) {
						buf[0] = '\0';
						pos = 0;
						end_call();
						get_call = false;
						LCD5110_refresh(&lcd1);
						LCD5110_rect_fill(&rect, 1, &lcd1);
						LCD5110_set_cursor(0, 0, &lcd1);
						screen_begin = true;
						main_screen(0);
					}
					else {
						char call_number[16];
						strcpy(call_number, CALL_NUMBER);
						strcat(call_number, buf);
						strcat(call_number, "\r\n");
						HAL_UART_Transmit(&huart1,(uint8_t *)call_number,strlen(call_number),100);
						call_screen();

					}
				}
				else if (key_pressed == 'D' && screen_main)
				{
					memset(buf, ' ', sizeof(buf) - 1);
					buf[0] = '\0';
					pos = 0;
					LCD5110_refresh(&lcd1);
					LCD5110_rect_fill(&rect, 1, &lcd1);
					LCD5110_set_cursor(0, 0, &lcd1);
				}
				else if (key_pressed == 'C' && pos > 0 && screen_main)
					{
						pos--;
						buf[pos] = '\0';

						LCD5110_refresh(&lcd1);
						LCD5110_rect_fill(&rect, 1, &lcd1);
						LCD5110_set_cursor(0, 0, &lcd1);
						LCD5110_print(buf, 0, &lcd1);
					}
				else if (key_pressed >= '0' && key_pressed <= '9' && pos < sizeof(buf) && screen_main)
				{
					buf[pos] = key_pressed;
					pos++;
					buf[pos] = '\0';

					LCD5110_set_cursor(0, 0, &lcd1);
					LCD5110_print(buf, 0, &lcd1);
				}
	    	}

	    }
	    LCD5110_refresh(&lcd1);
	    HAL_Delay(300);
	    LCD5110_refresh(&lcd1);
    /* USER CODE END WHILE */

  }
}

void SystemClock_Config(void)
{
  RCC_OscInitTypeDef RCC_OscInitStruct = {0};
  RCC_ClkInitTypeDef RCC_ClkInitStruct = {0};

  /** Configure the main internal regulator output voltage
  */
  __HAL_RCC_PWR_CLK_ENABLE();
  __HAL_PWR_VOLTAGESCALING_CONFIG(PWR_REGULATOR_VOLTAGE_SCALE1);

  /** Initializes the RCC Oscillators according to the specified parameters
  * in the RCC_OscInitTypeDef structure.
  */
  RCC_OscInitStruct.OscillatorType = RCC_OSCILLATORTYPE_HSE;
  RCC_OscInitStruct.HSEState = RCC_HSE_ON;
  RCC_OscInitStruct.PLL.PLLState = RCC_PLL_ON;
  RCC_OscInitStruct.PLL.PLLSource = RCC_PLLSOURCE_HSE;
  RCC_OscInitStruct.PLL.PLLM = 4;
  RCC_OscInitStruct.PLL.PLLN = 168;
  RCC_OscInitStruct.PLL.PLLP = RCC_PLLP_DIV4;
  RCC_OscInitStruct.PLL.PLLQ = 7;
  if (HAL_RCC_OscConfig(&RCC_OscInitStruct) != HAL_OK)
  {
    Error_Handler();
  }

  /** Initializes the CPU, AHB and APB buses clocks
  */
  RCC_ClkInitStruct.ClockType = RCC_CLOCKTYPE_HCLK|RCC_CLOCKTYPE_SYSCLK
                              |RCC_CLOCKTYPE_PCLK1|RCC_CLOCKTYPE_PCLK2;
  RCC_ClkInitStruct.SYSCLKSource = RCC_SYSCLKSOURCE_PLLCLK;
  RCC_ClkInitStruct.AHBCLKDivider = RCC_SYSCLK_DIV1;
  RCC_ClkInitStruct.APB1CLKDivider = RCC_HCLK_DIV2;
  RCC_ClkInitStruct.APB2CLKDivider = RCC_HCLK_DIV1;

  if (HAL_RCC_ClockConfig(&RCC_ClkInitStruct, FLASH_LATENCY_2) != HAL_OK)
  {
    Error_Handler();
  }
}

void PeriphCommonClock_Config(void)
{
  RCC_PeriphCLKInitTypeDef PeriphClkInitStruct = {0};

  /** Initializes the peripherals clock
  */
  PeriphClkInitStruct.PeriphClockSelection = RCC_PERIPHCLK_I2S;
  PeriphClkInitStruct.PLLI2S.PLLI2SN = 200;
  PeriphClkInitStruct.PLLI2S.PLLI2SM = 5;
  PeriphClkInitStruct.PLLI2S.PLLI2SR = 2;
  if (HAL_RCCEx_PeriphCLKConfig(&PeriphClkInitStruct) != HAL_OK)
  {
    Error_Handler();
  }
}

/* USER CODE BEGIN 4 */

void HAL_UART_RxCpltCallback(UART_HandleTypeDef *huart)
{

  if(huart == &huart1)
   {

    HAL_UART_Receive_IT(&huart1, (uint8_t*)&usart1_byte, 1);

    if(usart1_byte_count< 10000)
    {
      usart1_rx_buf[usart1_byte_count++] = usart1_byte;
    }

    if (check > 0){
      if(usart1_rx_buf[usart1_byte_count- 1 ] == '\n' && usart1_rx_buf[usart1_byte_count - 2] == '\r' && end_r < 2){
        usart1_byte_count = 0;
        usart1_rx_buf[0] = '\0';
        end_r++;
      } else if(usart1_rx_buf[usart1_byte_count - 1] == '\r' && end_r > 1){
        if (usart1_byte_count > 1){
          handle_interrupts(gsm_module, usart1_rx_buf, check);
          check = 0;
          end_r = 0;
          usart1_byte_count = 0;
        }
      }
    }

    check++;
  }

}

/* USER CODE END 4 */

void Error_Handler(void)
{
  __disable_irq();
  while (1)
  {
  }
}
